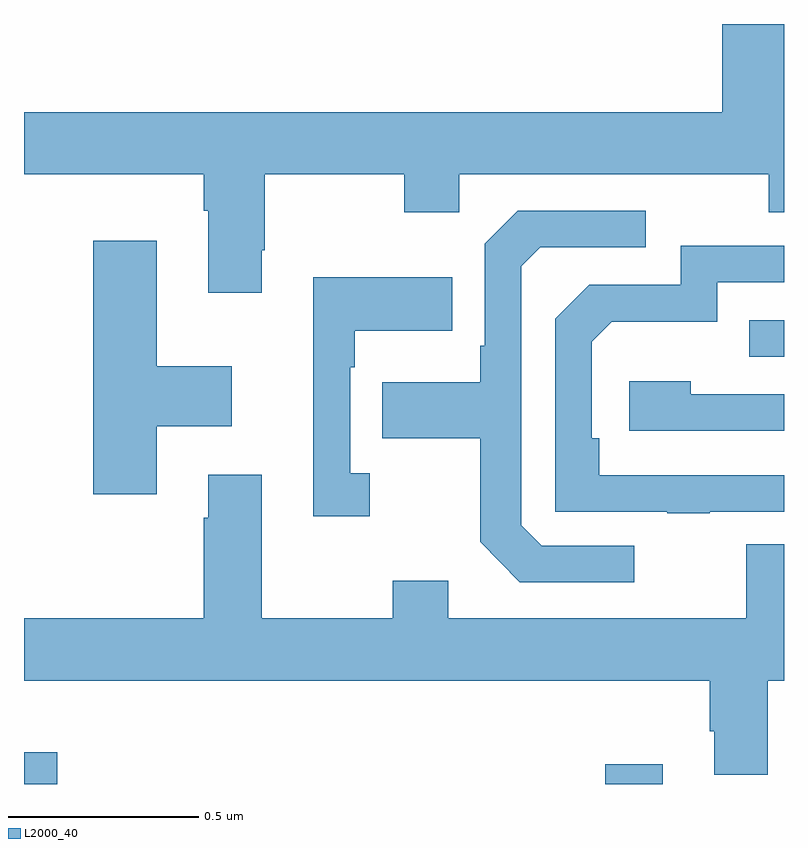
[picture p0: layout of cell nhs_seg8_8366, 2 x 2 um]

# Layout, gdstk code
import gdstk
lib = gdstk.Library(unit=1e-6, precision=1e-09)
def R(c, l, rs):  # rectangles x0, y0, x1, y1
    for r in rs: c.add(gdstk.rectangle(r[:2], r[2:], *l))
def P(c, l, *ps):  # polygons
    for p in ps: c.add(gdstk.Polygon(p, *l))
L2000_40 = (2000, 40)

nhs_seg8_8366 = lib.new_cell('nhs_seg8_8366')
R(nhs_seg8_8366, L2000_40, [(222,1110.9,222.088,1110.984), (223.529,1110.9,223.681,1110.952), (223.909,1112.025,224,1112.121)])
P(nhs_seg8_8366, L2000_40, [(222.625,1112.305),(222.633,1112.305),(222.633,1112.504),(223,1112.504),(223,1112.405),(223.146,1112.405),(223.146,1112.504),(223.96,1112.504),(223.96,1112.405),(224,1112.405),(224,1112.9),(223.838,1112.9),(223.838,1112.668),(222,1112.668),(222,1112.504),(222.473,1112.504),(222.473,1112.408),(222.485,1112.408),(222.485,1112.193),(222.625,1112.193)],
  [(223.606,1111.527),(223.362,1111.527),(223.308,1111.581),(223.308,1112.262),(223.359,1112.313),(223.636,1112.313),(223.636,1112.409),(223.299,1112.409),(223.212,1112.322),(223.212,1112.053),(223.2,1112.053),(223.2,1111.957),(222.943,1111.957),(222.943,1111.81),(223.2,1111.81),(223.2,1111.537),(223.305,1111.431),(223.606,1111.431)],
  [(222.349,1111.841),(222.547,1111.841),(222.547,1111.999),(222.349,1111.999),(222.349,1112.329),(222.182,1112.329),(222.182,1111.662),(222.349,1111.662)],
  [(223.805,1111.617),(224,1111.617),(224,1111.713),(223.514,1111.713),(223.514,1111.81),(223.494,1111.81),(223.494,1112.064),(223.547,1112.117),(223.824,1112.117),(223.824,1112.22),(224,1112.22),(224,1112.316),(223.728,1112.316),(223.728,1112.214),(223.488,1112.214),(223.398,1112.124),(223.398,1111.617),(223.693,1111.617),(223.693,1111.612),(223.805,1111.612)],
  [(222.91,1111.718),(222.858,1111.718),(222.858,1111.997),(222.871,1111.997),(222.871,1112.093),(223.127,1112.093),(223.127,1112.233),(222.761,1112.233),(222.761,1111.605),(222.91,1111.605)],
  [(224,1111.926),(223.754,1111.926),(223.754,1111.96),(223.593,1111.96),(223.593,1111.83),(224,1111.83)],
  [(223.957,1111.172),(224,1111.172),(224,1111.531),(223.901,1111.531),(223.901,1111.336),(223.117,1111.336),(223.117,1111.435),(222.97,1111.435),(222.97,1111.336),(222.625,1111.336),(222.625,1111.714),(222.485,1111.714),(222.485,1111.601),(222.473,1111.601),(222.473,1111.336),(222,1111.336),(222,1111.172),(223.805,1111.172),(223.805,1111.039),(223.817,1111.039),(223.817,1110.924),(223.957,1110.924)])

lib.write_gds('nhs_seg8_8366.gds')
